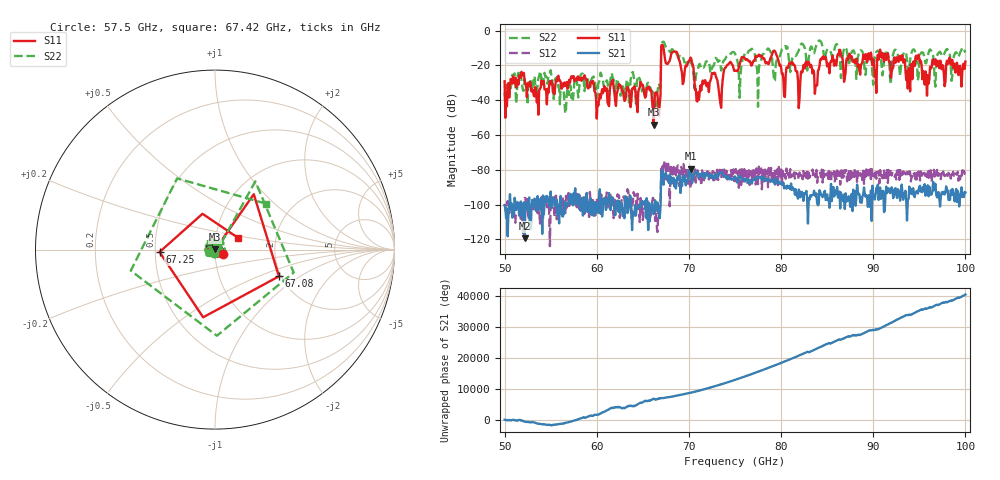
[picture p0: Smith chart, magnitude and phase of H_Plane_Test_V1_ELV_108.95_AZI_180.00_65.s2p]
! 11/27/2026 8:45:14 AM
! C:\ANRITSUVNA\TEMP\TEMP.S2P
! CHANNEL.1
! TR.MEASUREMENT
! RAW.DATA
# HZ S RI R 50.0
! FREQ.HZ  S11RE  S11IM  S21RE  S21IM  S12RE  S12IM  S22RE  S22IM
!; PortSelection: Port_12
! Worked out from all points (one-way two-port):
!   601 points, 50 GHz to 100 GHz, reference 50 ohm
!   highest |S21| = -79.34 dB at 70.25 GHz (marker M1); lowest = -119.5 dB at 52.17 GHz (marker M2)
!   lowest |S11| = -54.1 dB at 66.17 GHz (marker M3), VSWR 1.00, Z = 50.1 + j0.142 ohm
!   |S11| at or under -10 dB: start of sweep to 67 GHz; 67.24 GHz to end of sweep
!   |S22| runs from -47.6 to -5.6 dB; largest |S21 - S12| = 0.00023
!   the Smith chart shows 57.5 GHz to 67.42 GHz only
!   S11 on the Smith chart (normalised r, x): 57.5 GHz: 1.09, -0.05; 67.08 GHz: 1.95, -0.68; 67.25 GHz: 0.53, -0.02; 67.42 GHz: 1.29, +0.17
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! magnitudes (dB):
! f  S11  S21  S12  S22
! 50 GHz  -29.1  -100.6  -99.6  -35.8
! 52.17 GHz  -28.1  -119.5  -96.2  -27.6
! 53.42 GHz  -34.9  -103.7  -97.2  -35.5
! 57.5 GHz  -26.2  -93.6  -96.0  -34.5
! 58.42 GHz  -27.1  -96.3  -96.6  -24.7
! 60.17 GHz  -43.0  -104.8  -103.1  -30.2
! 66.17 GHz  -54.1  -105.6  -96.8  -34.0
! 66.67 GHz  -41.8  -103.8  -105.0  -31.6
! 67.08 GHz  -8.3  -83.6  -77.7  -6.8
! 67.25 GHz  -10.2  -88.6  -77.3  -6.3
! 67.42 GHz  -16.7  -84.1  -74.6  -8.4
! 70.25 GHz  -16.0  -79.3  -84.8  -18.8
! 70.92 GHz  -40.7  -81.7  -80.3  -23.0
! 75 GHz  -23.1  -83.8  -82.3  -13.0
! 79.25 GHz  -11.4  -87.1  -87.8  -29.0
! 80.25 GHz  -28.0  -87.4  -83.4  -9.3
! 83.42 GHz  -24.6  -94.5  -79.9  -10.9
! 91.67 GHz  -16.7  -90.7  -80.1  -15.3
! 93.75 GHz  -33.3  -97.5  -83.9  -21.6
! 94.83 GHz  -14.8  -93.7  -81.5  -28.7
! 95.83 GHz  -37.3  -90.3  -84.2  -16.6
! 100 GHz  -17.7  -93.0  -82.5  -12.6
